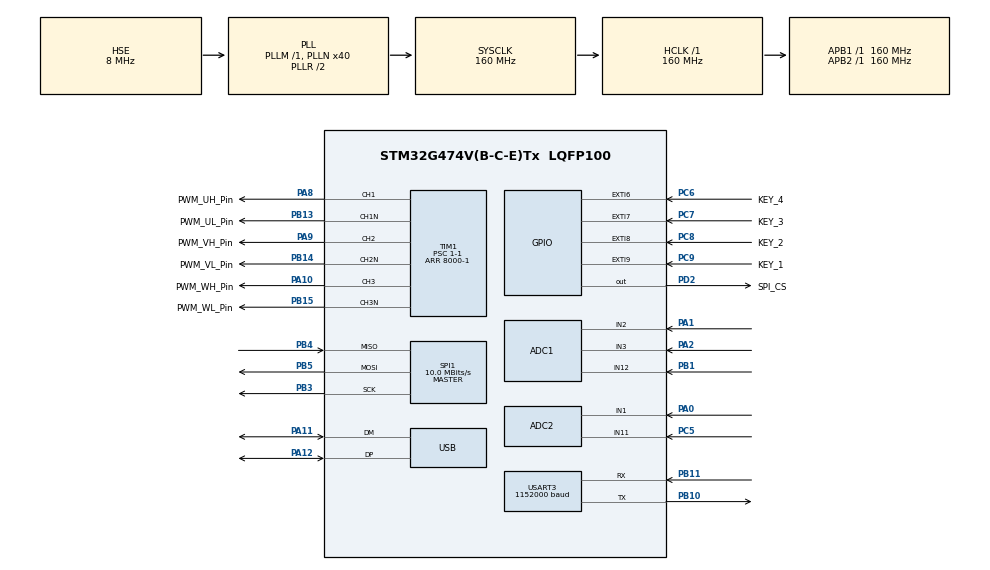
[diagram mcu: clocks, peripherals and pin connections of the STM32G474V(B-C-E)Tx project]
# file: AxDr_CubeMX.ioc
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ADC1.Channel-0\#ChannelRegularConversion=ADC_CHANNEL_12
ADC1.EnableInjectedConversion=ENABLE
ADC1.ExternalTrigInjecConv=ADC_EXTERNALTRIGINJEC_T1_TRGO
ADC1.InjNumberOfConversion=2
ADC1.InjectedChannel-1\#ChannelInjectedConversion=ADC_CHANNEL_3
ADC1.InjectedChannel-2\#ChannelInjectedConversion=ADC_CHANNEL_2
ADC1.InjectedOffsetNumber-1\#ChannelInjectedConversion=ADC_OFFSET_NONE
ADC1.InjectedOffsetNumber-2\#ChannelInjectedConversion=ADC_OFFSET_NONE
ADC1.InjectedRank-1\#ChannelInjectedConversion=1
ADC1.InjectedRank-2\#ChannelInjectedConversion=2
ADC1.InjectedSamplingTime-1\#ChannelInjectedConversion=ADC_SAMPLETIME_12CYCLES_5
ADC1.InjectedSamplingTime-2\#ChannelInjectedConversion=ADC_SAMPLETIME_12CYCLES_5
ADC1.NbrOfConversionFlag=1
ADC1.OffsetNumber-0\#ChannelRegularConversion=ADC_OFFSET_NONE
ADC1.Rank-0\#ChannelRegularConversion=1
ADC1.SamplingTime-0\#ChannelRegularConversion=ADC_SAMPLETIME_12CYCLES_5
ADC1.master=1
ADC2.Channel-0\#ChannelRegularConversion=ADC_CHANNEL_11
ADC2.EnableInjectedConversion=ENABLE
ADC2.ExternalTrigInjecConv=ADC_EXTERNALTRIGINJEC_T1_TRGO
ADC2.InjNumberOfConversion=2
ADC2.InjectedChannel-1\#ChannelInjectedConversion=ADC_CHANNEL_2
ADC2.InjectedChannel-2\#ChannelInjectedConversion=ADC_CHANNEL_1
ADC2.InjectedOffsetNumber-1\#ChannelInjectedConversion=ADC_OFFSET_NONE
ADC2.InjectedOffsetNumber-2\#ChannelInjectedConversion=ADC_OFFSET_NONE
ADC2.InjectedRank-1\#ChannelInjectedConversion=1
ADC2.InjectedRank-2\#ChannelInjectedConversion=2
ADC2.InjectedSamplingTime-1\#ChannelInjectedConversion=ADC_SAMPLETIME_12CYCLES_5
ADC2.InjectedSamplingTime-2\#ChannelInjectedConversion=ADC_SAMPLETIME_12CYCLES_5
ADC2.NbrOfConversionFlag=1
ADC2.OffsetNumber-0\#ChannelRegularConversion=ADC_OFFSET_NONE
ADC2.Rank-0\#ChannelRegularConversion=1
ADC2.Rank1_Channel=ADC_CHANNEL_2
ADC2.Rank2_Channel=ADC_CHANNEL_1
ADC2.SamplingTime-0\#ChannelRegularConversion=ADC_SAMPLETIME_6CYCLES_5
Mcu.Family=STM32G4
Mcu.Name=STM32G474V(B-C-E)Tx
Mcu.Package=LQFP100
NVIC.ADC1_2_IRQn=true\:0\:0\:false\:false\:true\:true\:true\:true
NVIC.EXTI9_5_IRQn=true\:3\:0\:true\:false\:true\:true\:true\:true
NVIC.PriorityGroup=NVIC_PRIORITYGROUP_4
NVIC.TIM1_BRK_TIM15_IRQn=true\:0\:0\:false\:false\:true\:true\:true\:true
NVIC.TIM1_UP_TIM16_IRQn=true\:0\:0\:false\:false\:true\:true\:true\:true
NVIC.USART3_IRQn=true\:0\:0\:false\:false\:true\:true\:true\:true
NVIC.USB_LP_IRQn=true\:0\:0\:false\:false\:true\:false\:true\:true
PA0.Mode=IN1-Single-Ended
PA0.Signal=ADC2_IN1
PA1.Signal=SharedAnalog_PA1
PA10.GPIO_Label=PWM_WH_Pin
PA10.Signal=S_TIM1_CH3
PA11.Mode=Device
PA11.Signal=USB_DM
PA12.Mode=Device
PA12.Signal=USB_DP
PA13.Mode=Serial_Wire
PA13.Signal=SYS_JTMS-SWDIO
PA14.Mode=Serial_Wire
PA14.Signal=SYS_JTCK-SWCLK
PA2.Mode=IN3-Single-Ended
PA2.Signal=ADC1_IN3
PA8.GPIO_Label=PWM_UH_Pin
PA8.Signal=S_TIM1_CH1
PA9.GPIO_Label=PWM_VH_Pin
PA9.Signal=S_TIM1_CH2
PB1.Mode=IN12-Single-Ended
PB1.Signal=ADC1_IN12
PB10.Mode=Asynchronous
PB10.Signal=USART3_TX
PB11.Mode=Asynchronous
PB11.Signal=USART3_RX
PB13.GPIO_Label=PWM_UL_Pin
PB13.Mode=PWM Generation1 CH1 CH1N
PB13.Signal=TIM1_CH1N
PB14.GPIO_Label=PWM_VL_Pin
PB14.Mode=PWM Generation2 CH2 CH2N
PB14.Signal=TIM1_CH2N
PB15.GPIO_Label=PWM_WL_Pin
PB15.Mode=PWM Generation3 CH3 CH3N
PB15.Signal=TIM1_CH3N
PB3.Mode=Full_Duplex_Master
PB3.Signal=SPI1_SCK
PB4.Mode=Full_Duplex_Master
PB4.Signal=SPI1_MISO
PB5.Mode=Full_Duplex_Master
PB5.Signal=SPI1_MOSI
PC5.Mode=IN11-Single-Ended
PC5.Signal=ADC2_IN11
PC6.GPIO_Label=KEY_4
PC6.GPIO_ModeDefaultEXTI=GPIO_MODE_IT_FALLING
PC6.Signal=GPXTI6
PC7.GPIO_Label=KEY_3
PC7.Signal=GPXTI7
PC8.GPIO_Label=KEY_2
PC8.Signal=GPXTI8
PC9.GPIO_Label=KEY_1
PC9.Signal=GPXTI9
PD2.GPIO_Label=SPI_CS
PD2.GPIO_PuPd=GPIO_PULLDOWN
PD2.GPIO_Speed=GPIO_SPEED_FREQ_MEDIUM
PD2.Signal=GPIO_Output
PF0-OSC_IN.Mode=HSE-External-Oscillator
PF0-OSC_IN.Signal=RCC_OSC_IN
PF1-OSC_OUT.Mode=HSE-External-Oscillator
PF1-OSC_OUT.Signal=RCC_OSC_OUT
ProjectManager.HeapSize=0x600
ProjectManager.StackSize=0x400
ProjectManager.TargetToolchain=MDK-ARM V5.32
RCC.ADC12Freq_Value=160000000
RCC.ADC345Freq_Value=160000000
RCC.AHBFreq_Value=160000000
RCC.APB1Freq_Value=160000000
RCC.APB1TimFreq_Value=160000000
RCC.APB2Freq_Value=160000000
RCC.APB2TimFreq_Value=160000000
RCC.CK48CLockSelection=RCC_USBCLKSOURCE_HSI48
RCC.CortexFreq_Value=160000000
RCC.EXTERNAL_CLOCK_VALUE=12288000
RCC.HCLKFreq_Value=160000000
RCC.HSE_VALUE=8000000
RCC.HSI48_VALUE=48000000
RCC.HSI_VALUE=16000000
RCC.LSE_VALUE=32768
RCC.PLLN=40
RCC.PLLSourceVirtual=RCC_PLLSOURCE_HSE
RCC.SYSCLKFreq_VALUE=160000000
RCC.SYSCLKSource=RCC_SYSCLKSOURCE_PLLCLK
RCC.USBFreq_Value=48000000
RCC.VCOOutputFreq_Value=320000000
SH.S_TIM1_CH1.0=TIM1_CH1,PWM Generation1 CH1 CH1N
SH.S_TIM1_CH2.0=TIM1_CH2,PWM Generation2 CH2 CH2N
SH.S_TIM1_CH3.0=TIM1_CH3,PWM Generation3 CH3 CH3N
SH.SharedAnalog_PA1.0=ADC1_IN2,IN2-Single-Ended
SH.SharedAnalog_PA1.1=ADC2_IN2,IN2-Single-Ended
SPI1.BaudRatePrescaler=SPI_BAUDRATEPRESCALER_16
SPI1.CLKPhase=SPI_PHASE_2EDGE
SPI1.CLKPolarity=SPI_POLARITY_HIGH
SPI1.CalculateBaudRate=10.0 MBits/s
SPI1.DataSize=SPI_DATASIZE_16BIT
SPI1.Direction=SPI_DIRECTION_2LINES
SPI1.Mode=SPI_MODE_MASTER
SPI1.VirtualType=VM_MASTER
STMicroelectronics.X-CUBE-ALGOBUILD.1.3.0.LibraryCcDSPOoLibraryJjDSPOoLibrary=true
TIM1.Channel-PWM\ Generation1\ CH1\ CH1N=TIM_CHANNEL_1
TIM1.Channel-PWM\ Generation2\ CH2\ CH2N=TIM_CHANNEL_2
TIM1.Channel-PWM\ Generation3\ CH3\ CH3N=TIM_CHANNEL_3
TIM1.Channel-PWM\ Generation4\ No\ Output=TIM_CHANNEL_4
TIM1.ClockDivision=TIM_CLOCKDIVISION_DIV2
TIM1.CounterMode=TIM_COUNTERMODE_CENTERALIGNED1
TIM1.DeadTime=120
TIM1.PeriodNoDither=8000-1
TIM1.Prescaler=1-1
TIM1.RepetitionCounter=1
TIM1.TIM_MasterOutputTrigger=TIM_TRGO_OC4REF
USART3.BaudRate=1152000
USART3.VirtualMode-Asynchronous=VM_ASYNC
USB_DEVICE.CLASS_NAME_FS=CDC
USB_DEVICE.VirtualMode=Cdc
USB_DEVICE.VirtualModeFS=Cdc_FS
VP_STMicroelectronics.X-CUBE-ALGOBUILD_VS_DSPOoLibraryJjLibrary_1.3.0_1.3.0.Mode=DSPOoLibraryJjLibrary
VP_SYS_VS_DBSignals.Mode=DisableDeadBatterySignals
VP_TIM1_VS_ClockSourceINT.Mode=Internal
VP_TIM1_VS_no_output4.Mode=PWM Generation4 No Output
VP_USB_DEVICE_VS_USB_DEVICE_CDC_FS.Mode=CDC_FS
board=custom

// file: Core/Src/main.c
/* USER CODE BEGIN Header */
/**
  ******************************************************************************
  * @file           : main.c
  * @brief          : Main program body
  ******************************************************************************
  * @attention
  *
  * Copyright (c) 2024 STMicroelectronics.
  * All rights reserved.
  *
  * This software is licensed under terms that can be found in the LICENSE file
  * in the root directory of this software component.
  * If no LICENSE file comes with this software, it is provided AS-IS.
  *
  ******************************************************************************
  */
/* USER CODE END Header */
#include "main.h"
#include "adc.h"
#include "spi.h"
#include "tim.h"
#include "usart.h"
#include "usb_device.h"
#include "gpio.h"

/* USER CODE BEGIN Includes */
#include "FOC_Model.h"
#include "usart_vofa.h"
#include "stdio.h"
#include "mt6816.h"
#include "motor_control.h"

uint16_T adc1_in3,adc2_in1,Udc;
extern uint8_t aRxBuffer;
float theta;
uint32_t time;
#define M_PI (3.14159265358f)         // 圆周率
float normalize_angle(float angle);
float angle= 0;
/* USER CODE END Includes */

void SystemClock_Config(void);

int main(void)
{

  /* MCU Configuration--------------------------------------------------------*/

  /* Reset of all peripherals, Initializes the Flash interface and the Systick. */
  HAL_Init();

  /* Configure the system clock */
  SystemClock_Config();

  /* Initialize all configured peripherals */
  MX_GPIO_Init();
  MX_ADC1_Init();
  MX_ADC2_Init();
  MX_TIM1_Init();
  MX_USART3_UART_Init();
  MX_SPI1_Init();
  MX_USB_Device_Init();
  /* USER CODE BEGIN 2 */
	HAL_ADCEx_Calibration_Start( &hadc1, ADC_SINGLE_ENDED);
	HAL_ADCEx_Calibration_Start( &hadc2, ADC_SINGLE_ENDED);
	__HAL_ADC_CLEAR_FLAG( &hadc1, ADC_FLAG_JEOC);
//	__HAL_ADC_CLEAR_FLAG( &hadc1, ADC_FLAG_EOC);
	__HAL_ADC_CLEAR_FLAG( &hadc2, ADC_FLAG_JEOC);
		__HAL_ADC_CLEAR_FLAG( &hadc2, ADC_FLAG_EOC);
	HAL_ADCEx_InjectedStart_IT( &hadc1);
	HAL_ADCEx_InjectedStart( &hadc2);
	TIM1->CCR4 = 8000-2;
	TIM1->ARR = 8000-1;
	HAL_TIM_Base_Start( &htim1);
	HAL_TIM_PWM_Start( &htim1, TIM_CHANNEL_4);
	HAL_UART_Receive_IT(&huart3, (uint8_t *)&aRxBuffer, 1);

  /* USER CODE END 2 */

  /* Infinite loop */
  /* USER CODE BEGIN WHILE */
	FOC_Model_initialize();

		rtU.id_ref = 0;
		rtU.Ubus = 12;
		rtU.Spd_ref = 20;
		rtU.MotorSwitch = 0;

//		currloop_U.theta = 6.28 * REIN_MT6816_Get_AngleData()/16348;
  while (1)
  {
    /* USER CODE END WHILE */

    /* USER CODE BEGIN 3 */
//	HAL_ADC_Start(&hadc2);
//	Udc= hadc2.Instance->DR;
//	HAL_ADCEx_RegularStop(&hadc2);
//	rtU.Ubus = Udc*3.3f/4096 *26;
//		theta = 6.28 * REIN_MT6816_Get_AngleData()/16348 +0.085098;
//FOC_Model_U.ia,FOC_Model_U.ib,FOC_Model_U.ic,
//		printf("%f,%f,%f,%f\n",rtU.theta,rtY.smo_theta,rtU.Obs_spd,rtY.smo_we);
			printf("%f,%f,%f,%f\n",ud,uq,hfi_theta,ns_single);
//		printf("%f,%f,%f,%f,%f,%f,%f,%f\n",rtU.ia,rtU.ib,rtU.ic,uq,rtY.we,rtY.Tcmp1,rtY.Tcmp2,rtY.Tcmp3);
//		if (HAL_GetTick() - time > 1)
//		{
////		CDC_Transmit_FS((uint8_t *)"USB CDC Hello!\n",15);
////			ano_send(100, 200);
//			time = HAL_GetTick();
//			vofa_send_data(0, FOC_Model_U.ia);
//			vofa_send_data(1, FOC_Model_U.ib);
//			vofa_send_data(2, FOC_Model_U.ic);
//			vofa_send_data(3, FOC_Model_U.theta);
//			vofa_send_data(4, FOC_Model_Y.smo_theta);
//			vofa_send_data(5, FOC_Model_Y.smo_we);
//			vofa_send_data(6, FOC_Model_U.Obs_spd);
//			vofa_sendframetail();
//
//		}

  }
  /* USER CODE END 3 */
}

void SystemClock_Config(void)
{
  RCC_OscInitTypeDef RCC_OscInitStruct = {0};
  RCC_ClkInitTypeDef RCC_ClkInitStruct = {0};

  /** Configure the main internal regulator output voltage
  */
  HAL_PWREx_ControlVoltageScaling(PWR_REGULATOR_VOLTAGE_SCALE1_BOOST);

  /** Initializes the RCC Oscillators according to the specified parameters
  * in the RCC_OscInitTypeDef structure.
  */
  RCC_OscInitStruct.OscillatorType = RCC_OSCILLATORTYPE_HSI48|RCC_OSCILLATORTYPE_HSE;
  RCC_OscInitStruct.HSEState = RCC_HSE_ON;
  RCC_OscInitStruct.HSI48State = RCC_HSI48_ON;
  RCC_OscInitStruct.PLL.PLLState = RCC_PLL_ON;
  RCC_OscInitStruct.PLL.PLLSource = RCC_PLLSOURCE_HSE;
  RCC_OscInitStruct.PLL.PLLM = RCC_PLLM_DIV1;
  RCC_OscInitStruct.PLL.PLLN = 40;
  RCC_OscInitStruct.PLL.PLLP = RCC_PLLP_DIV2;
  RCC_OscInitStruct.PLL.PLLQ = RCC_PLLQ_DIV2;
  RCC_OscInitStruct.PLL.PLLR = RCC_PLLR_DIV2;
  if (HAL_RCC_OscConfig(&RCC_OscInitStruct) != HAL_OK)
  {
    Error_Handler();
  }

  /** Initializes the CPU, AHB and APB buses clocks
  */
  RCC_ClkInitStruct.ClockType = RCC_CLOCKTYPE_HCLK|RCC_CLOCKTYPE_SYSCLK
                              |RCC_CLOCKTYPE_PCLK1|RCC_CLOCKTYPE_PCLK2;
  RCC_ClkInitStruct.SYSCLKSource = RCC_SYSCLKSOURCE_PLLCLK;
  RCC_ClkInitStruct.AHBCLKDivider = RCC_SYSCLK_DIV1;
  RCC_ClkInitStruct.APB1CLKDivider = RCC_HCLK_DIV1;
  RCC_ClkInitStruct.APB2CLKDivider = RCC_HCLK_DIV1;

  if (HAL_RCC_ClockConfig(&RCC_ClkInitStruct, FLASH_LATENCY_4) != HAL_OK)
  {
    Error_Handler();
  }
}

/* USER CODE BEGIN 4 */
float normalize_angle(float angle)
{
	float a = fmod(angle, 2 * M_PI); // 取余运算可以用于归一化
	return a >= 0 ? a : (a + 2 * M_PI);
}

void HAL_ADCEx_InjectedConvCpltCallback(ADC_HandleTypeDef *hadc)
{
  /* Prevent unused argument(s) compilation warning */
  UNUSED(hadc);
	adc1_in3 = hadc1.Instance->JDR1;
	adc2_in1 = hadc2.Instance->JDR1;
//	rtU.ia = (adc1_in3 - 2042)*0.02197f;0.01611
//	rtU.ic = (adc2_in1 - 2030)*0.02197f;

	rtU.ia = (adc1_in3 - 2042)*0.04028f;
	rtU.ib = (adc2_in1 - 2030)*0.04028f;
	rtU.ic = -rtU.ia - rtU.ib;

//	currloop_U.theta+=0.006;
	//15098       5.790462
	theta = 2 * M_PI * (REIN_MT6816_Get_AngleData())/16348;
	mt6816.mec_angle = theta;
//	theta = theta % (float)6.28;
//2.878321
	theta = normalize_angle(theta * 7) - 5.790462;

//	if(currloop_U.theta > 6.28)
//			currloop_U.theta = 0;
//	rtU.theta = theta;
//		currloop_U.theta =0;

//	rtU.Obs_spd = get_speed_M(2);
	if(motor_state==1)
	{
		rtU.MotorSwitch = 1;
//		rtDW.MathFunction1 = normalize_angle(rtDW.MathFunction1 + angle);

		FOC_Model_step0();
		FOC_Model_step1();
		htim1.Instance->CCR1 = rtY.Tcmp1;
		htim1.Instance->CCR2 = rtY.Tcmp2;
		htim1.Instance->CCR3 = rtY.Tcmp3;

	}else
	{
		rtU.MotorSwitch = 0;
//		FOC_Model_step();
	}

  /* NOTE : This function should not be modified. When the callback is needed,
            function HAL_ADCEx_InjectedConvCpltCallback must be implemented in the user file.
  */
}

/* USER CODE END 4 */

void Error_Handler(void)
{
  __disable_irq();
  while (1)
  {
  }
}
